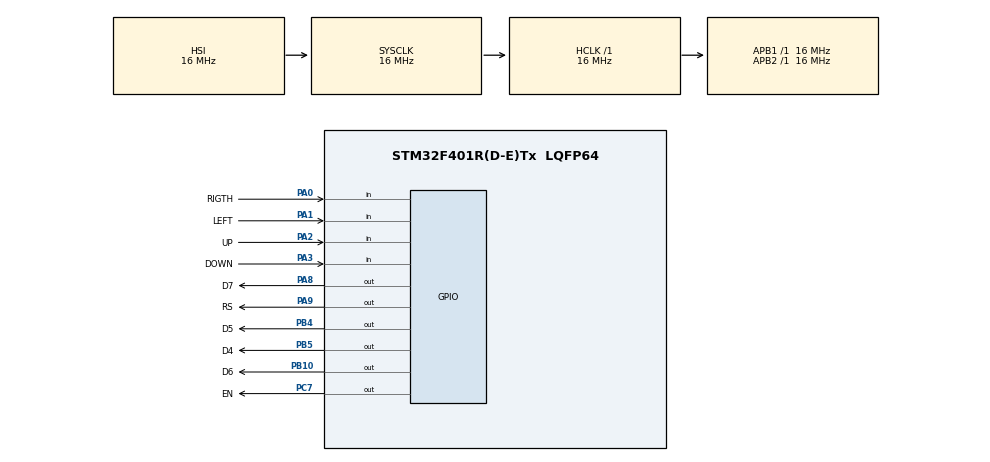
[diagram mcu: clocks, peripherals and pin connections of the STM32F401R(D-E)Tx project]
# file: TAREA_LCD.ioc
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Mcu.Family=STM32F4
Mcu.Name=STM32F401R(D-E)Tx
Mcu.Package=LQFP64
NVIC.PriorityGroup=NVIC_PRIORITYGROUP_4
PA0-WKUP.GPIO_Label=RIGTH
PA0-WKUP.GPIO_PuPd=GPIO_PULLUP
PA0-WKUP.Signal=GPIO_Input
PA1.GPIO_Label=LEFT
PA1.GPIO_PuPd=GPIO_PULLUP
PA1.Signal=GPIO_Input
PA2.GPIO_Label=UP
PA2.GPIO_PuPd=GPIO_PULLUP
PA2.Signal=GPIO_Input
PA3.GPIO_Label=DOWN
PA3.GPIO_PuPd=GPIO_PULLUP
PA3.Signal=GPIO_Input
PA8.GPIO_Label=D7
PA8.Signal=GPIO_Output
PA9.GPIO_Label=RS
PA9.Signal=GPIO_Output
PB10.GPIO_Label=D6
PB10.Signal=GPIO_Output
PB4.GPIO_Label=D5
PB4.Signal=GPIO_Output
PB5.GPIO_Label=D4
PB5.Signal=GPIO_Output
PC7.GPIO_Label=EN
PC7.Signal=GPIO_Output
ProjectManager.HeapSize=0x200
ProjectManager.StackSize=0x400
ProjectManager.TargetToolchain=STM32CubeIDE
RCC.AHBFreq_Value=16000000
RCC.APB1Freq_Value=16000000
RCC.APB2Freq_Value=16000000
RCC.CortexFreq_Value=16000000
RCC.HSE_VALUE=25000000
RCC.HSI_VALUE=16000000
RCC.LSE_VALUE=32768
RCC.SYSCLKFreq_VALUE=16000000
RCC.VCOOutputFreq_Value=192000000
board=custom

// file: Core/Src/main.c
/* USER CODE BEGIN Header */
/**
  ******************************************************************************
  * @file           : main.c
  * @brief          : Main program body
  ******************************************************************************
  * @attention
  *
  * Copyright (c) 2022 STMicroelectronics.
  * All rights reserved.
  *
  * This software is licensed under terms that can be found in the LICENSE file
  * in the root directory of this software component.
  * If no LICENSE file comes with this software, it is provided AS-IS.
  *
  ******************************************************************************
  */
/* USER CODE END Header */
#include "main.h"

/* USER CODE BEGIN Includes */
#include "LCD_LIB.h"
/* USER CODE END Includes */

/* USER CODE BEGIN PV */
uint8_t menu1=0,menu2=0,aux1=0,aux2=0,aux3=0,aux4=0,aux5=0;
/* USER CODE END PV */

void SystemClock_Config(void);
static void MX_GPIO_Init(void);
/* USER CODE BEGIN PFP */
void Pulsadores(void);
void Menu1(void);
void Menu2(void);
/* USER CODE END PFP */

int main(void)
{

  /* MCU Configuration--------------------------------------------------------*/

  /* Reset of all peripherals, Initializes the Flash interface and the Systick. */
  HAL_Init();

  /* Configure the system clock */
  SystemClock_Config();

  /* Initialize all configured peripherals */
  MX_GPIO_Init();
  /* USER CODE BEGIN 2 */
  LCD_Init();

  LCD_CreateCaracter(1,0x10,0x08,0x04,0x07,0x04,0x08,0x10,0x00);

  /* USER CODE END 2 */

  /* Infinite loop */
  /* USER CODE BEGIN WHILE */
  while (1)
  {
	  if(menu1==0){
		  Menu1();
		  Pulsadores();

		if(aux2==0 && aux3==1){
			comando(0x00);
			comando(0x01);
			menu1=1;
			aux1=0;aux2=0;aux3=0;aux4=0;
		}

	  }
	  if(menu1==1){
		  Menu2();
		  Pulsadores();
	  }
    /* USER CODE END WHILE */

}
}
void SystemClock_Config(void)
{
  RCC_OscInitTypeDef RCC_OscInitStruct = {0};
  RCC_ClkInitTypeDef RCC_ClkInitStruct = {0};

  /** Configure the main internal regulator output voltage
  */
  __HAL_RCC_PWR_CLK_ENABLE();
  __HAL_PWR_VOLTAGESCALING_CONFIG(PWR_REGULATOR_VOLTAGE_SCALE2);
  /** Initializes the RCC Oscillators according to the specified parameters
  * in the RCC_OscInitTypeDef structure.
  */
  RCC_OscInitStruct.OscillatorType = RCC_OSCILLATORTYPE_HSI;
  RCC_OscInitStruct.HSIState = RCC_HSI_ON;
  RCC_OscInitStruct.HSICalibrationValue = RCC_HSICALIBRATION_DEFAULT;
  RCC_OscInitStruct.PLL.PLLState = RCC_PLL_NONE;
  if (HAL_RCC_OscConfig(&RCC_OscInitStruct) != HAL_OK)
  {
    Error_Handler();
  }
  /** Initializes the CPU, AHB and APB buses clocks
  */
  RCC_ClkInitStruct.ClockType = RCC_CLOCKTYPE_HCLK|RCC_CLOCKTYPE_SYSCLK
                              |RCC_CLOCKTYPE_PCLK1|RCC_CLOCKTYPE_PCLK2;
  RCC_ClkInitStruct.SYSCLKSource = RCC_SYSCLKSOURCE_HSI;
  RCC_ClkInitStruct.AHBCLKDivider = RCC_SYSCLK_DIV1;
  RCC_ClkInitStruct.APB1CLKDivider = RCC_HCLK_DIV1;
  RCC_ClkInitStruct.APB2CLKDivider = RCC_HCLK_DIV1;

  if (HAL_RCC_ClockConfig(&RCC_ClkInitStruct, FLASH_LATENCY_0) != HAL_OK)
  {
    Error_Handler();
  }
}

static void MX_GPIO_Init(void)
{
  GPIO_InitTypeDef GPIO_InitStruct = {0};

  /* GPIO Ports Clock Enable */
  __HAL_RCC_GPIOA_CLK_ENABLE();
  __HAL_RCC_GPIOB_CLK_ENABLE();
  __HAL_RCC_GPIOC_CLK_ENABLE();

  /*Configure GPIO pin Output Level */
  HAL_GPIO_WritePin(GPIOB, D6_Pin|D5_Pin|D4_Pin, GPIO_PIN_RESET);

  /*Configure GPIO pin Output Level */
  HAL_GPIO_WritePin(EN_GPIO_Port, EN_Pin, GPIO_PIN_RESET);

  /*Configure GPIO pin Output Level */
  HAL_GPIO_WritePin(GPIOA, D7_Pin|RS_Pin, GPIO_PIN_RESET);

  /*Configure GPIO pins : RIGTH_Pin LEFT_Pin UP_Pin DOWN_Pin */
  GPIO_InitStruct.Pin = RIGTH_Pin|LEFT_Pin|UP_Pin|DOWN_Pin;
  GPIO_InitStruct.Mode = GPIO_MODE_INPUT;
  GPIO_InitStruct.Pull = GPIO_PULLUP;
  HAL_GPIO_Init(GPIOA, &GPIO_InitStruct);

  /*Configure GPIO pins : D6_Pin D5_Pin D4_Pin */
  GPIO_InitStruct.Pin = D6_Pin|D5_Pin|D4_Pin;
  GPIO_InitStruct.Mode = GPIO_MODE_OUTPUT_PP;
  GPIO_InitStruct.Pull = GPIO_NOPULL;
  GPIO_InitStruct.Speed = GPIO_SPEED_FREQ_LOW;
  HAL_GPIO_Init(GPIOB, &GPIO_InitStruct);

  /*Configure GPIO pin : EN_Pin */
  GPIO_InitStruct.Pin = EN_Pin;
  GPIO_InitStruct.Mode = GPIO_MODE_OUTPUT_PP;
  GPIO_InitStruct.Pull = GPIO_NOPULL;
  GPIO_InitStruct.Speed = GPIO_SPEED_FREQ_LOW;
  HAL_GPIO_Init(EN_GPIO_Port, &GPIO_InitStruct);

  /*Configure GPIO pins : D7_Pin RS_Pin */
  GPIO_InitStruct.Pin = D7_Pin|RS_Pin;
  GPIO_InitStruct.Mode = GPIO_MODE_OUTPUT_PP;
  GPIO_InitStruct.Pull = GPIO_NOPULL;
  GPIO_InitStruct.Speed = GPIO_SPEED_FREQ_LOW;
  HAL_GPIO_Init(GPIOA, &GPIO_InitStruct);

}

/* USER CODE BEGIN 4 */
void Pulsadores(void){
	if(HAL_GPIO_ReadPin(GPIOA, DOWN_Pin)==0){
		  while(HAL_GPIO_ReadPin(GPIOA, DOWN_Pin)==0);
		  HAL_Delay(20);
		  aux2++;
		  if(menu1==0){
			  if(aux2>2) {aux2=0;}
		  }else if(menu1==1){
			  if(aux2>3) {aux2=0;}
		  }
	  }
	  if(HAL_GPIO_ReadPin(GPIOA, UP_Pin)==0){
		  while(HAL_GPIO_ReadPin(GPIOA, UP_Pin)==0);
		  HAL_Delay(20);
		  aux2--;
		  if(menu1==0){
			  if(aux2<0) {aux2=2;}
		  }
		  }else if(menu1==1){
					  if(aux2<0) {aux2=1;}

		  }
	  if(HAL_GPIO_ReadPin(GPIOA, RIGTH_Pin)==0){
		  while(HAL_GPIO_ReadPin(GPIOA, RIGTH_Pin)==0);
		  HAL_Delay(20);
		  aux3++;
		  if(menu1==0){
			  if(aux3>1)aux3=1;
		  }
		  if(menu1==1){
			  if(aux3>2)aux3=2;
		  }
	  if(HAL_GPIO_ReadPin(GPIOA, LEFT_Pin)==0){
		  while(HAL_GPIO_ReadPin(GPIOA, LEFT_Pin)==0);
		  HAL_Delay(20);
		  aux3--;
		  if(menu1==1){

		  }

	  }
}
}

void Menu1(void){
	LCD_SetCursor(1,1);
	LCD_PrintString("Menu");
	LCD_SetCursor(2,2);
	LCD_PrintString("Glucosa");
	LCD_SetCursor(2,3);
	LCD_PrintString("Dosis");
	LCD_SetCursor(2,4);
	LCD_PrintString("Historial");
	if(aux2==0){
		LCD_SetCursor(1,3);
		LCD_PrintCaracter(' ');
		LCD_SetCursor(1,4);
		LCD_PrintCaracter(' ');
		LCD_SetCursor(1,2);
		LCD_WriteCaracter(1);
	}else if(aux2==1){
		LCD_SetCursor(1,2);
		LCD_PrintCaracter(' ');
		LCD_SetCursor(1,4);
		LCD_PrintCaracter(' ');
		LCD_SetCursor(1,3);
		LCD_WriteCaracter(1);
	}else if(aux2==2){
		LCD_SetCursor(1,2);
		LCD_PrintCaracter(' ');
		LCD_SetCursor(1,3);
		LCD_PrintCaracter(' ');
		LCD_SetCursor(1,4);
		LCD_WriteCaracter(1);
	 }
}

void Menu2 (void){
	LCD_CreateCaracter(2,   0B00011111,0B00010001,0B00010001,0B00010001, 0B00010001,0B00010001,0B00011111,0B00000000);
	LCD_CreateCaracter(3,   0B11111111,0B11111111,0B11111111,0B11111111,0B11111111,0B11111111,0B11111111, 0B11111111);

	if(aux2==0 && aux3==0){
	LCD_SetCursor(1,1);
	LCD_PrintString("Glucosa");
	LCD_SetCursor(2,2);
	LCD_PrintString("Actual : ");
	LCD_SetCursor(2,3);
	LCD_PrintString("Confirmar?");
	LCD_SetCursor(9,4);
	LCD_PrintString("NO   SI");
	LCD_SetCursor(8,4);
	LCD_WriteCaracter(3);
	LCD_SetCursor(13,4);
	LCD_WriteCaracter(3);

	LCD_SetCursor(1,3);
	LCD_PrintCaracter(' ');
	LCD_SetCursor(1,2);
	LCD_WriteCaracter(1);
	LCD_SetCursor(8,4);
	LCD_WriteCaracter(2);
	LCD_SetCursor(13,4);
	LCD_WriteCaracter(2);

	}else if(aux2==1 && aux3==0){
		LCD_SetCursor(1,2);
		LCD_PrintCaracter(' ');
		LCD_SetCursor(1,3);
		LCD_WriteCaracter(1);
		LCD_SetCursor(8,4);
		LCD_WriteCaracter(2);
		LCD_SetCursor(13,4);
		LCD_WriteCaracter(2);
	}else if(aux2==1 && aux3==1){
		LCD_SetCursor(1,2);
		LCD_PrintCaracter(' ');
		LCD_SetCursor(1,3);
		LCD_PrintCaracter(' ');
		LCD_SetCursor(8,4);
		LCD_WriteCaracter(1);
		LCD_SetCursor(13,4);
		LCD_WriteCaracter(2);
	 }
	else if(aux2==1 && aux3==2){
		LCD_SetCursor(1,2);
		LCD_PrintCaracter(' ');
		LCD_SetCursor(1,3);
		LCD_PrintCaracter(' ');
		LCD_SetCursor(8,4);
		LCD_WriteCaracter(2);
		LCD_SetCursor(13,4);
		LCD_WriteCaracter(1);
	 }
}

/* USER CODE END 4 */

void Error_Handler(void)
{
  __disable_irq();
  while (1)
  {
  }
}
